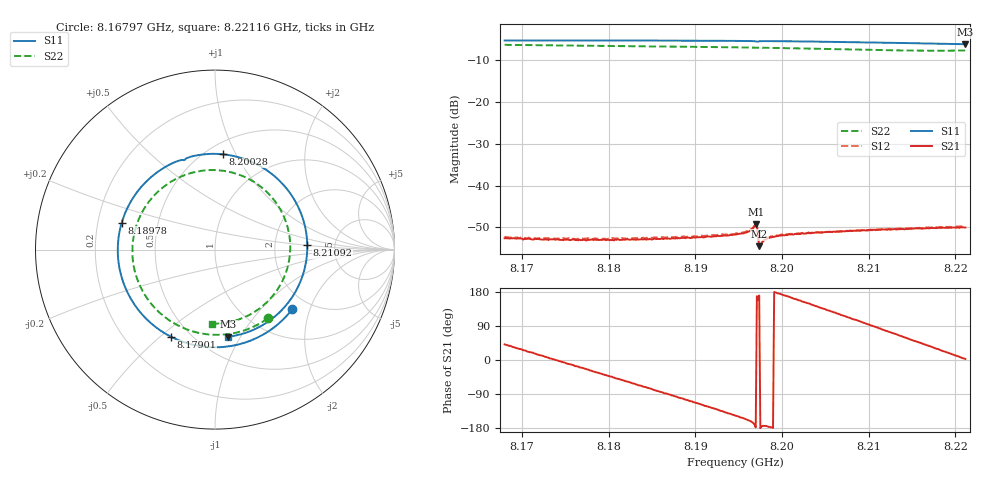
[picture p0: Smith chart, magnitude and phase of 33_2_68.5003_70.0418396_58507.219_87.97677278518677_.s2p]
#  HZ  S  RI  R  50.00
! Rohde & Schwarz Vector Network Analyzer
! Rohde-Schwarz,ZNB20-2Port,1311601062101988,3.16
! Created: UTC 3/20/2024, 5:05:10 PM
! freq[Hz]  re:S11  im:S11  re:S21  im:S21  re:S12  im:S12  re:S22  im:S22
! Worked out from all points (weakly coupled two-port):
!   401 points, 8.16797 GHz to 8.22116 GHz, reference 50 ohm
!   highest |S21| = -49.20 dB at 8.19696 GHz (marker M1); lowest = -54.5 dB at 8.19736 GHz (marker M2)
!   lowest |S11| = -6.2 dB at 8.22116 GHz (marker M3), VSWR 2.93, Z = 34.7 - j44.4 ohm
!   |S11| at or under -10 dB: nowhere
!   |S22| runs from -7.7 to -6.3 dB; largest |S21 - S12| = 0.00018
!   S11 on the Smith chart (normalised r, x): 8.16797 GHz: 1.62, -1.53; 8.17901 GHz: 0.39, -0.54; 8.18978 GHz: 0.30, +0.13; 8.20028 GHz: 0.60, +0.89; 8.21092 GHz: 3.11, +0.21; 8.22116 GHz: 0.69, -0.89
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8.167975e9  0.4304 -0.3322  0.00177 0.00155  0.0018 0.00161  0.2936 -0.3831
8.172628e9  0.1778 -0.5145  0.00227 0.00034  0.00233 0.000387  0.0436 -0.474
8.176883e9  -0.1093 -0.5333  0.00209 -0.000787  0.00217 -0.000856  -0.1923 -0.4294
8.17901e9  -0.2469 -0.4846  0.00183 -0.0013  0.00188 -0.00134  -0.2933 -0.3648
8.1826e9  -0.4348 -0.3256  0.00112 -0.00197  0.00113 -0.00206  -0.4155 -0.207
8.185791e9  -0.5277 -0.1256  0.000285 -0.00229  0.000262 -0.0024  -0.4598 -0.0361
8.18978e9  -0.5198 0.15  -0.000887 -0.00225  -0.000957 -0.00229  -0.42 0.18
8.194566e9  -0.3326 0.4229  -0.00217 -0.00143  -0.00224 -0.00139  -0.246 0.3777
8.196029e9  -0.245 0.4776  -0.0026 -0.00105  -0.00269 -0.00101  -0.1726 0.4139
8.196826e9  -0.1902 0.4986  -0.00327 -0.000539  -0.0033 -0.000433  -0.1298 0.4279
8.196959e9  -0.1799 0.4997  -0.00346 -0.000128  -0.00355 -7.27e-06  -0.1226 0.4297
8.197358e9  -0.1632 0.5058  -0.00186 0.000318  -0.0019 0.000439  -0.1009 0.4345
8.197624e9  -0.1446 0.5144  -0.00201 -0.000154  -0.00205 -9.36e-05  -0.086 0.4373
8.198422e9  -0.0879 0.5274  -0.00236 -0.000136  -0.00243 -5.83e-05  -0.0411 0.4426
8.200283e9  0.0439 0.531  -0.00251 0.000421  -0.00255 0.000563  0.0644 0.4361
8.203474e9  0.257 0.462  -0.00225 0.00153  -0.00219 0.00164  0.2324 0.3671
8.20733e9  0.4472 0.2694  -0.00121 0.00259  -0.00112 0.00262  0.3777 0.1971
8.21092e9  0.5141 0.0247  0.0002 0.00298  0.000302 0.00296  0.4185 -0.013
8.212382e9  0.5052 -0.0795  0.000841 0.00288  0.000895 0.00293  0.4035 -0.1013
8.214776e9  0.4453 -0.2401  0.00177 0.00248  0.00185 0.00247  0.3388 -0.2356
8.217169e9  0.3346 -0.3718  0.00254 0.0018  0.0026 0.00173  0.2295 -0.3411
8.221158e9  0.0738 -0.4856  0.00316 0.000146  0.00327 4.4e-05  -0.0185 -0.4125
